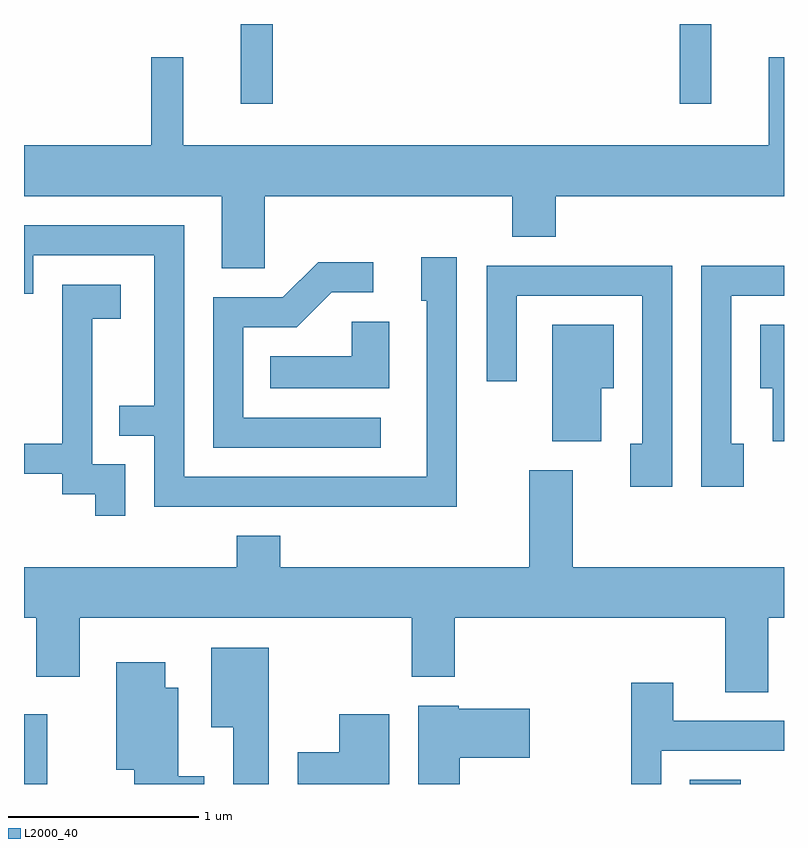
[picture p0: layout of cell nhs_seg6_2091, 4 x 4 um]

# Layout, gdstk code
import gdstk
lib = gdstk.Library(unit=1e-6, precision=1e-09)
def R(c, l, rs):  # rectangles x0, y0, x1, y1
    for r in rs: c.add(gdstk.rectangle(r[:2], r[2:], *l))
def P(c, l, *ps):  # polygons
    for p in ps: c.add(gdstk.Polygon(p, *l))
L2000_40 = (2000, 40)

nhs_seg6_2091 = lib.new_cell('nhs_seg6_2091')
R(nhs_seg6_2091, L2000_40, [(247.611,1660.162,247.734,1660.529), (251.116,1660.162,251.384,1660.184), (248.751,1663.743,248.919,1664.162), (251.061,1663.743,251.229,1664.162)])
P(nhs_seg6_2091, L2000_40, [(248.879,1663.256),(250.181,1663.256),(250.181,1663.041),(250.409,1663.041),(250.409,1663.256),(251.611,1663.256),(251.611,1663.988),(251.531,1663.988),(251.531,1663.524),(248.449,1663.524),(248.449,1663.988),(248.281,1663.988),(248.281,1663.524),(247.611,1663.524),(247.611,1663.256),(248.651,1663.256),(248.651,1662.876),(248.879,1662.876)],
  [(249.889,1662.934),(249.701,1662.934),(249.701,1662.706),(249.731,1662.706),(249.731,1661.779),(248.454,1661.779),(248.454,1663.104),(247.611,1663.104),(247.611,1662.741),(247.659,1662.741),(247.659,1662.946),(248.296,1662.946),(248.296,1662.154),(248.113,1662.154),(248.113,1661.996),(248.296,1661.996),(248.296,1661.621),(249.889,1661.621)],
  [(249.488,1662.089),(248.764,1662.089),(248.764,1662.566),(249.047,1662.566),(249.232,1662.751),(249.448,1662.751),(249.448,1662.909),(249.159,1662.909),(248.974,1662.724),(248.606,1662.724),(248.606,1661.931),(249.488,1661.931)],
  [(251.399,1661.954),(251.334,1661.954),(251.334,1662.731),(251.611,1662.731),(251.611,1662.889),(251.176,1662.889),(251.176,1661.726),(251.399,1661.726)],
  [(251.024,1662.889),(250.046,1662.889),(250.046,1662.283),(250.204,1662.283),(250.204,1662.731),(250.866,1662.731),(250.866,1661.954),(250.801,1661.954),(250.801,1661.726),(251.024,1661.726)],
  [(248.144,1661.844),(247.969,1661.844),(247.969,1662.611),(248.119,1662.611),(248.119,1662.789),(247.811,1662.789),(247.811,1661.954),(247.611,1661.954),(247.611,1661.796),(247.811,1661.796),(247.811,1661.686),(247.986,1661.686),(247.986,1661.573),(248.144,1661.573)],
  [(249.534,1662.594),(249.336,1662.594),(249.336,1662.414),(248.908,1662.414),(248.908,1662.246),(249.534,1662.246)],
  [(250.649,1662.246),(250.714,1662.246),(250.714,1662.579),(250.391,1662.579),(250.391,1661.966),(250.649,1661.966)],
  [(251.611,1662.579),(251.486,1662.579),(251.486,1662.246),(251.551,1662.246),(251.551,1661.966),(251.611,1661.966)],
  [(251.529,1661.036),(251.611,1661.036),(251.611,1661.304),(250.499,1661.304),(250.499,1661.814),(250.271,1661.814),(250.271,1661.304),(248.959,1661.304),(248.959,1661.469),(248.731,1661.469),(248.731,1661.304),(247.611,1661.304),(247.611,1661.036),(247.676,1661.036),(247.676,1660.726),(247.904,1660.726),(247.904,1661.036),(249.651,1661.036),(249.651,1660.726),(249.879,1660.726),(249.879,1661.036),(251.301,1661.036),(251.301,1660.646),(251.529,1660.646)],
  [(248.899,1660.879),(248.596,1660.879),(248.596,1660.461),(248.711,1660.461),(248.711,1660.162),(248.899,1660.162)],
  [(248.559,1660.204),(248.424,1660.204),(248.424,1660.669),(248.354,1660.669),(248.354,1660.804),(248.096,1660.804),(248.096,1660.236),(248.191,1660.236),(248.191,1660.162),(248.559,1660.162)],
  [(250.964,1660.336),(251.611,1660.336),(251.611,1660.494),(251.029,1660.494),(251.029,1660.694),(250.806,1660.694),(250.806,1660.162),(250.964,1660.162)],
  [(249.904,1660.301),(250.274,1660.301),(250.274,1660.559),(249.9,1660.559),(249.9,1660.574),(249.686,1660.574),(249.686,1660.162),(249.904,1660.162)],
  [(249.534,1660.529),(249.271,1660.529),(249.271,1660.329),(249.051,1660.329),(249.051,1660.162),(249.534,1660.162)])

lib.write_gds('nhs_seg6_2091.gds')
